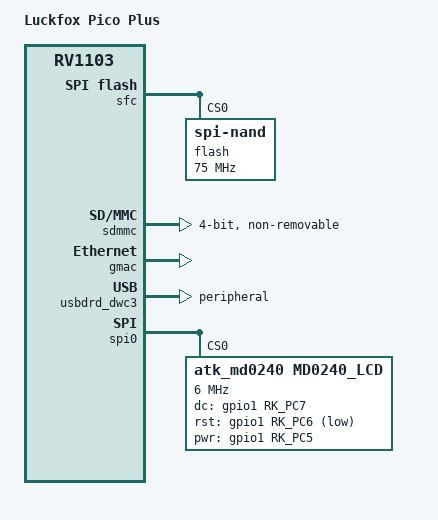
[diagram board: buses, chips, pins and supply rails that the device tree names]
// SPDX-License-Identifier: (GPL-2.0+ OR MIT)
/*
 * Copyright (c) 2022 Rockchip Electronics Co., Ltd.
 */

/dts-v1/;

#include "rv1103.dtsi"
#include "rv1106-evb.dtsi"
#include "rv1103-luckfox-pico-ipc.dtsi"

/ {
	model = "Luckfox Pico Plus";
	compatible = "rockchip,rv1103g-38x38-ipc-v10", "rockchip,rv1103";

	/* dht11_sensor 定义于 rv1103-luckfox-pico-ipc.dtsi，占用 GPIO1_C7，
	 * 与 LCD 的 DC 引脚冲突，删除 */
	/delete-node/ dht11_sensor;
};

/**********SFC**********/
&sfc {
	status = "okay";
	flash@0 {
		compatible = "spi-nand";
		reg = <0>;
		spi-max-frequency = <75000000>;
		spi-rx-bus-width = <4>;
		spi-tx-bus-width = <1>;
	};
};

/**********SDMMC**********/
&sdmmc {
	max-frequency = <50000000>;
	no-mmc;
	bus-width = <4>;
	cap-mmc-highspeed;
	cap-sd-highspeed;
	disable-wp;

	//sdio
	cap-sdio-irq;
	non-removable;
	no-1-8-v;
	supports-sdio;

	pinctrl-names = "default";
	pinctrl-0 = <&sdmmc0_clk &sdmmc0_cmd &sdmmc0_det &sdmmc0_bus4>;
	status = "okay";
};

/**********ETH**********/
&gmac {
	status = "okay";
};

/**********USB**********/
&usbdrd_dwc3 {
	status = "okay";
	dr_mode = "peripheral";
};

/**********SPI**********/
/* SPI0_M0 */
&spi0 {
	status = "disabled";
	spidev@0 {
		spi-max-frequency = <50000000>;
	};
	fbtft@0 {
		spi-max-frequency = <50000000>;
	};
};

/**********I2C**********/
/* I2C3_M1 */
&i2c3 {
	status = "disabled";
	clock-frequency = <100000>;
};

/* I2C0_M2 */
&i2c0 {
	status = "disabled";
	clock-frequency = <100000>;
};

/**********UART**********/
/* UART3_M1 */
&uart3 {
	status = "disabled";
};

/* UART4_M1 */
&uart4 {
	status = "disabled";
};

/**********PWM**********/
/* PWM1_M0 */
&pwm1 {
	status = "disabled";
};


/**********MD0240_LCD**********/
/* SPI0_M0: SCK=GPIO1_C1  MOSI=GPIO1_C2  CS0=GPIO1_C0
 * 引脚复用节点(clk/mosi/cs0)已定义在 rv1103-luckfox-pico-ipc.dtsi，无需自建 */
&spi0 {
	status = "okay";
	pinctrl-0 = <&spi0m0_clk &spi0m0_mosi &spi0m0_cs0>;

	/* 继承自 rv1103-luckfox-pico-ipc.dtsi，与 md0240_lcd@0 同为 reg=<0>，关闭 */
	spidev@0 {
		status = "disabled";
	};
	fbtft@0 {
		status = "disabled";
	};

	md0240_lcd@0 {
		compatible = "atk_md0240,md0240_lcd";
		reg = <0>;
		spi-max-frequency = <6000000>;

		//引脚: GPIO1_C7_d
		dc-gpios = <&gpio1 RK_PC7 GPIO_ACTIVE_HIGH>; //低：写命令；高：写数据

		//引脚: GPIO1_C6_d
		rst-gpios = <&gpio1 RK_PC6 GPIO_ACTIVE_LOW>; //硬件复位引脚（低电平有效）

		//引脚: GPIO1_C5_d
		pwr-gpios = <&gpio1 RK_PC5 GPIO_ACTIVE_HIGH>; //低：关闭背光；高：开启背光
	};
};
